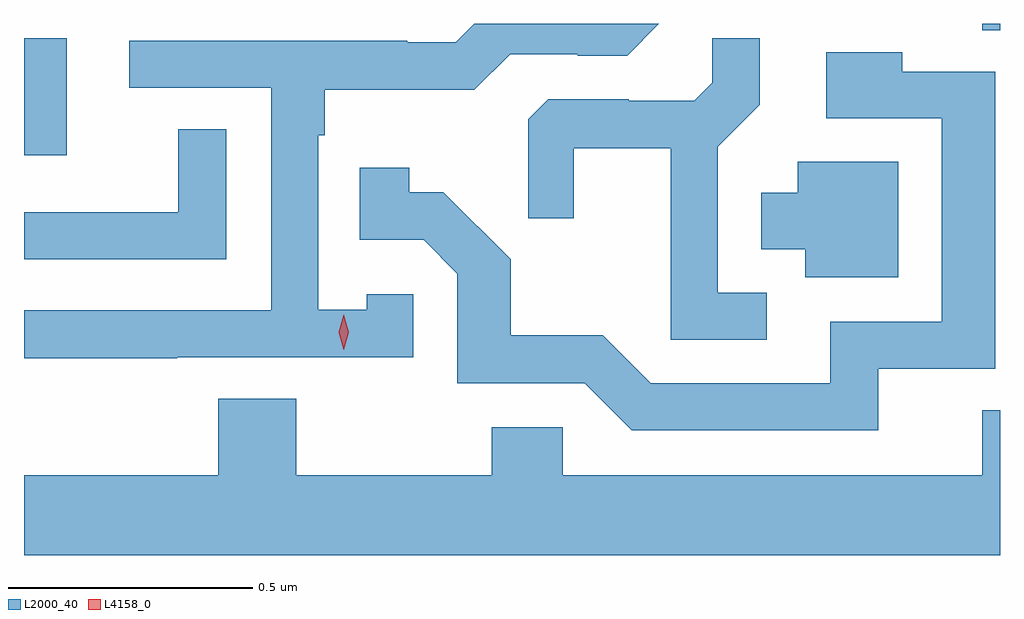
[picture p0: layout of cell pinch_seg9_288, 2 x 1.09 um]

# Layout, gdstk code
import gdstk
lib = gdstk.Library(unit=1e-6, precision=1e-09)
def R(c, l, rs):  # rectangles x0, y0, x1, y1
    for r in rs: c.add(gdstk.rectangle(r[:2], r[2:], *l))
def P(c, l, *ps):  # polygons
    for p in ps: c.add(gdstk.Polygon(p, *l))
L2000_40 = (2000, 40)
L4158_0 = (4158, 0)

pinch_seg9_288 = lib.new_cell('pinch_seg9_288')
R(pinch_seg9_288, L2000_40, [(405.273,1179.924,405.361,1180.163), (407.237,1180.18,407.273,1180.193)])
P(pinch_seg9_288, L2000_40, [(405.587,1179.51),(406.071,1179.51),(406.071,1179.639),(405.975,1179.639),(405.975,1179.607),(405.876,1179.607),(405.876,1179.965),(405.889,1179.965),(405.889,1180.058),(406.196,1180.058),(406.269,1180.131),(406.408,1180.131),(406.408,1180.128),(406.509,1180.128),(406.574,1180.193),(406.196,1180.193),(406.158,1180.155),(406.058,1180.155),(406.058,1180.158),(405.489,1180.158),(405.489,1180.062),(405.78,1180.062),(405.78,1179.606),(405.273,1179.606),(405.273,1179.508),(405.587,1179.508)],
  [(406.795,1179.642),(406.695,1179.642),(406.695,1179.941),(406.781,1180.027),(406.781,1180.163),(406.683,1180.163),(406.683,1180.072),(406.646,1180.035),(406.512,1180.035),(406.512,1180.038),(406.347,1180.038),(406.306,1179.997),(406.306,1179.795),(406.4,1179.795),(406.4,1179.938),(406.598,1179.938),(406.598,1179.546),(406.795,1179.546)],
  [(407.024,1179.486),(407.263,1179.486),(407.263,1180.095),(407.073,1180.095),(407.073,1180.135),(406.917,1180.135),(406.917,1179.999),(407.154,1179.999),(407.154,1179.582),(406.925,1179.582),(406.925,1179.456),(406.557,1179.456),(406.459,1179.555),(406.27,1179.555),(406.27,1179.71),(406.132,1179.848),(406.062,1179.848),(406.062,1179.898),(405.961,1179.898),(405.961,1179.75),(406.092,1179.75),(406.161,1179.681),(406.161,1179.456),(406.422,1179.456),(406.518,1179.36),(407.024,1179.36)],
  [(405.687,1179.977),(405.589,1179.977),(405.589,1179.807),(405.273,1179.807),(405.273,1179.711),(405.687,1179.711)],
  [(407.065,1179.91),(406.859,1179.91),(406.859,1179.847),(406.784,1179.847),(406.784,1179.731),(406.874,1179.731),(406.874,1179.674),(407.065,1179.674)],
  [(407.273,1179.401),(407.237,1179.401),(407.237,1179.268),(406.377,1179.268),(406.377,1179.366),(406.231,1179.366),(406.231,1179.268),(405.831,1179.268),(405.831,1179.425),(405.671,1179.425),(405.671,1179.268),(405.273,1179.268),(405.273,1179.104),(407.273,1179.104)])
P(pinch_seg9_288, L4158_0, [(405.928,1179.525),(405.928,1179.525),(405.918,1179.561),(405.928,1179.597),(405.928,1179.597),(405.928,1179.597),(405.938,1179.561),(405.928,1179.525)])

lib.write_gds('pinch_seg9_288.gds')
